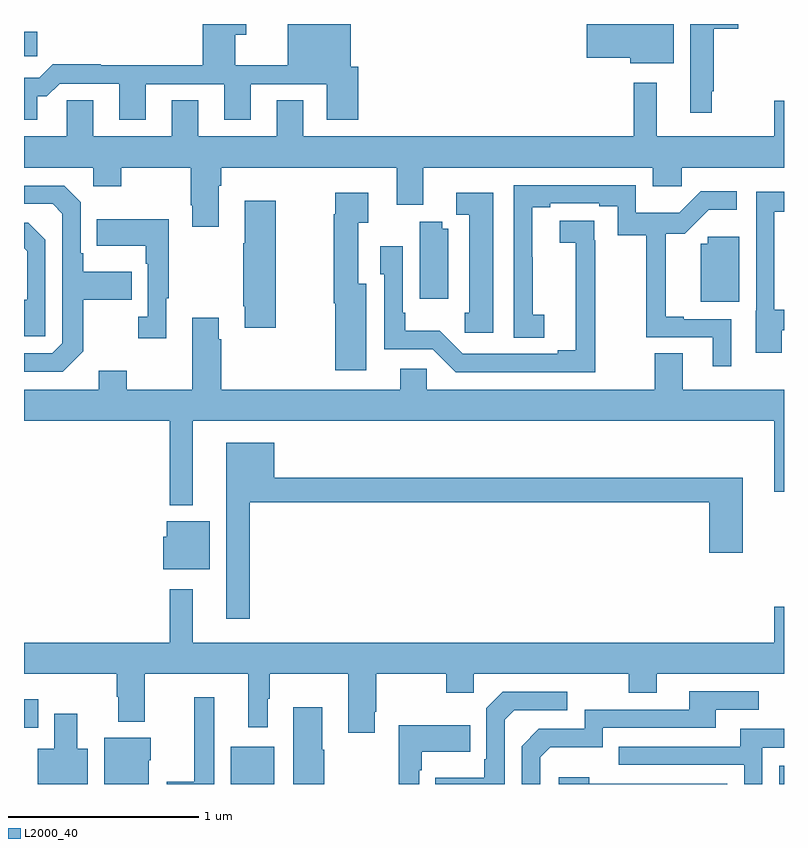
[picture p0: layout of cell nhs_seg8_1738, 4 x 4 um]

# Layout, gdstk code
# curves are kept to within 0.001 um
import gdstk
lib = gdstk.Library(unit=1e-6, precision=1e-09)
def R(c, l, rs):  # rectangles x0, y0, x1, y1
    for r in rs: c.add(gdstk.rectangle(r[:2], r[2:], *l))
def P(c, l, *ps):  # polygons
    for p in ps: c.add(gdstk.Polygon(p, *l))
L2000_40 = (2000, 40)

nhs_seg8_1738 = lib.new_cell('nhs_seg8_1738')
R(nhs_seg8_1738, L2000_40, [(222.089,1135.9,222.316,1136.095), (224.976,1135.9,225,1135.996), (221,1136.195,221.074,1136.347), (221,1139.731,221.071,1139.86)])
P(nhs_seg8_1738, L2000_40, [(221.071,1139.519),(221.12,1139.519),(221.187,1139.586),(221.501,1139.586),(221.501,1139.397),(221.641,1139.397),(221.641,1139.583),(222.053,1139.583),(222.053,1139.397),(222.193,1139.397),(222.193,1139.583),(222.593,1139.583),(222.593,1139.397),(222.758,1139.397),(222.758,1139.676),(222.721,1139.676),(222.721,1139.9),(222.389,1139.9),(222.389,1139.684),(222.112,1139.684),(222.112,1139.843),(222.169,1139.843),(222.169,1139.9),(221.942,1139.9),(221.942,1139.684),(221.405,1139.684),(221.405,1139.687),(221.15,1139.687),(221.08,1139.617),(221,1139.617),(221,1139.397),(221.071,1139.397)],
  [(224.419,1139.9),(223.962,1139.9),(223.962,1139.722),(224.192,1139.722),(224.192,1139.693),(224.419,1139.693)],
  [(224.621,1139.545),(224.629,1139.545),(224.629,1139.876),(224.758,1139.876),(224.758,1139.9),(224.507,1139.9),(224.507,1139.433),(224.621,1139.433)],
  [(222.025,1139.048),(222.038,1139.048),(222.038,1139.144),(222.962,1139.144),(222.962,1138.95),(223.102,1138.95),(223.102,1139.144),(224.309,1139.144),(224.309,1139.046),(224.461,1139.046),(224.461,1139.144),(225,1139.144),(225,1139.497),(224.948,1139.497),(224.948,1139.308),(224.329,1139.308),(224.329,1139.59),(224.208,1139.59),(224.208,1139.308),(222.469,1139.308),(222.469,1139.498),(222.329,1139.498),(222.329,1139.308),(221.917,1139.308),(221.917,1139.498),(221.777,1139.498),(221.777,1139.308),(221.365,1139.308),(221.365,1139.498),(221.226,1139.498),(221.226,1139.308),(221,1139.308),(221,1139.144),(221.364,1139.144),(221.364,1139.045),(221.511,1139.045),(221.511,1139.144),(221.878,1139.144),(221.878,1138.945),(221.885,1138.945),(221.885,1138.833),(222.025,1138.833)],
  [(224.722,1138.347),(224.473,1138.347),(224.473,1138.36),(224.378,1138.36),(224.378,1138.797),(224.477,1138.797),(224.603,1138.922),(224.752,1138.922),(224.752,1139.019),(224.562,1139.019),(224.449,1138.906),(224.22,1138.906),(224.22,1139.052),(223.578,1139.052),(223.578,1138.249),(223.738,1138.249),(223.738,1138.369),(223.677,1138.369),(223.677,1138.673),(223.675,1138.673),(223.675,1138.936),(223.771,1138.936),(223.771,1138.956),(224.027,1138.956),(224.027,1138.942),(224.124,1138.942),(224.124,1138.789),(224.275,1138.789),(224.275,1138.251),(224.624,1138.251),(224.624,1138.098),(224.722,1138.098)],
  [(221.311,1138.177),(221.311,1138.45),(221.567,1138.45),(221.567,1138.597),(221.311,1138.597),(221.311,1138.693),(221.298,1138.693),(221.298,1138.962),(221.211,1139.049),(221,1139.049),(221,1138.953),(221.151,1138.953),(221.202,1138.902),(221.202,1138.221),(221.148,1138.167),(221,1138.167),(221,1138.071),(221.205,1138.071)],
  [(224.989,1138.287),(225,1138.287),(225,1138.395),(224.949,1138.395),(224.949,1138.911),(225,1138.911),(225,1139.017),(224.853,1139.017),(224.853,1138.392),(224.852,1138.392),(224.852,1138.17),(224.989,1138.17)],
  [(223.471,1139.011),(223.275,1139.011),(223.275,1138.896),(223.343,1138.896),(223.343,1138.38),(223.321,1138.38),(223.321,1138.275),(223.471,1138.275)],
  [(222.802,1138.534),(222.76,1138.534),(222.76,1138.855),(222.811,1138.855),(222.811,1139.011),(222.638,1139.011),(222.638,1138.898),(222.631,1138.898),(222.631,1138.43),(222.638,1138.43),(222.638,1138.077),(222.802,1138.077)],
  [(222.324,1138.969),(222.161,1138.969),(222.161,1138.745),(222.154,1138.745),(222.154,1138.414),(222.161,1138.414),(222.161,1138.302),(222.324,1138.302)],
  [(221.749,1138.457),(221.761,1138.457),(221.761,1138.873),(221.383,1138.873),(221.383,1138.733),(221.64,1138.733),(221.64,1138.637),(221.652,1138.637),(221.652,1138.358),(221.601,1138.358),(221.601,1138.245),(221.749,1138.245)],
  [(224.006,1138.763),(224,1138.763),(224,1138.865),(223.821,1138.865),(223.821,1138.75),(223.903,1138.75),(223.904,1138.184),(223.808,1138.184),(223.808,1138.164),(223.308,1138.164),(223.187,1138.285),(223.006,1138.285),(223.006,1138.381),(222.993,1138.381),(222.993,1138.729),(222.876,1138.729),(222.876,1138.584),(222.897,1138.584),(222.897,1138.188),(223.152,1138.188),(223.272,1138.068),(224.006,1138.068)],
  [(223.234,1138.822),(223.202,1138.822),(223.202,1138.859),(223.082,1138.859),(223.082,1138.455),(223.234,1138.455)],
  [(221.112,1138.764),(221.022,1138.854),(221,1138.854),(221,1138.72),(221.016,1138.704),(221.016,1138.45),(221,1138.45),(221,1138.257),(221.112,1138.257)],
  [(224.764,1138.78),(224.598,1138.78),(224.598,1138.744),(224.561,1138.744),(224.561,1138.439),(224.764,1138.439)],
  [(221.887,1137.812),(224.948,1137.812),(224.948,1137.438),(225,1137.438),(225,1137.976),(224.467,1137.976),(224.467,1138.166),(224.32,1138.166),(224.32,1137.976),(223.119,1137.976),(223.119,1138.086),(222.98,1138.086),(222.98,1137.976),(222.038,1137.976),(222.038,1138.241),(222.025,1138.241),(222.025,1138.354),(221.885,1138.354),(221.885,1137.976),(221.541,1137.976),(221.541,1138.075),(221.393,1138.075),(221.393,1137.976),(221,1137.976),(221,1137.812),(221.766,1137.812),(221.766,1137.368),(221.887,1137.368)],
  [(222.187,1137.382),(224.606,1137.382),(224.606,1137.117),(224.784,1137.117),(224.784,1137.511),(222.316,1137.511),(222.316,1137.697),(222.065,1137.697),(222.065,1136.769),(222.187,1136.769)],
  [(221.977,1137.283),(221.75,1137.283),(221.75,1137.201),(221.732,1137.201),(221.732,1137.029),(221.977,1137.029)],
  [(222.847,1136.281),(222.855,1136.281),(222.855,1136.48),(223.222,1136.48),(223.222,1136.381),(223.368,1136.381),(223.368,1136.48),(224.182,1136.48),(224.182,1136.381),(224.329,1136.381),(224.329,1136.48),(225,1136.48),(225,1136.833),(224.948,1136.833),(224.948,1136.644),(221.887,1136.644),(221.887,1136.926),(221.766,1136.926),(221.766,1136.644),(221,1136.644),(221,1136.48),(221.488,1136.48),(221.488,1136.36),(221.495,1136.36),(221.495,1136.228),(221.635,1136.228),(221.635,1136.48),(222.179,1136.48),(222.179,1136.199),(222.283,1136.199),(222.283,1136.348),(222.293,1136.348),(222.293,1136.48),(222.707,1136.48),(222.707,1136.169),(222.847,1136.169)],
  [(223.716,1136.04),(223.769,1136.093),(224.046,1136.093),(224.046,1136.196),(224.641,1136.196),(224.641,1136.292),(224.866,1136.292),(224.866,1136.388),(224.501,1136.388),(224.501,1136.292),(223.95,1136.292),(223.95,1136.19),(223.71,1136.19),(223.62,1136.1),(223.62,1135.9),(223.716,1135.9)],
  [(223.53,1136.238),(223.581,1136.289),(223.858,1136.289),(223.858,1136.385),(223.521,1136.385),(223.434,1136.298),(223.434,1136.029),(223.422,1136.029),(223.422,1135.933),(223.165,1135.933),(223.165,1135.9),(223.53,1135.9)],
  [(222.001,1136.356),(221.897,1136.356),(221.897,1135.912),(221.75,1135.912),(221.75,1135.9),(222.001,1135.9)],
  [(222.579,1136.081),(222.571,1136.081),(222.571,1136.305),(222.416,1136.305),(222.416,1135.9),(222.579,1135.9)],
  [(221.335,1136.086),(221.281,1136.086),(221.281,1136.269),(221.159,1136.269),(221.159,1136.086),(221.072,1136.086),(221.072,1135.9),(221.335,1135.9)],
  [(223.08,1135.973),(223.093,1135.973),(223.093,1136.069),(223.349,1136.069),(223.349,1136.209),(222.972,1136.209),(222.972,1135.9),(223.08,1135.9)],
  [(224.886,1136.091),(225,1136.091),(225,1136.191),(224.771,1136.191),(224.771,1136.097),(224.131,1136.097),(224.131,1136.001),(224.79,1136.001),(224.79,1135.9),(224.886,1135.9)],
  [(221.656,1136.025),(221.668,1136.025),(221.668,1136.143),(221.423,1136.143),(221.423,1135.9),(221.656,1135.9)],
  [(224.7,1135.902),(223.976,1135.902),(223.976,1135.936),(223.815,1135.936),(223.815,1135.9),(224.7,1135.9)])

lib.write_gds('nhs_seg8_1738.gds')
